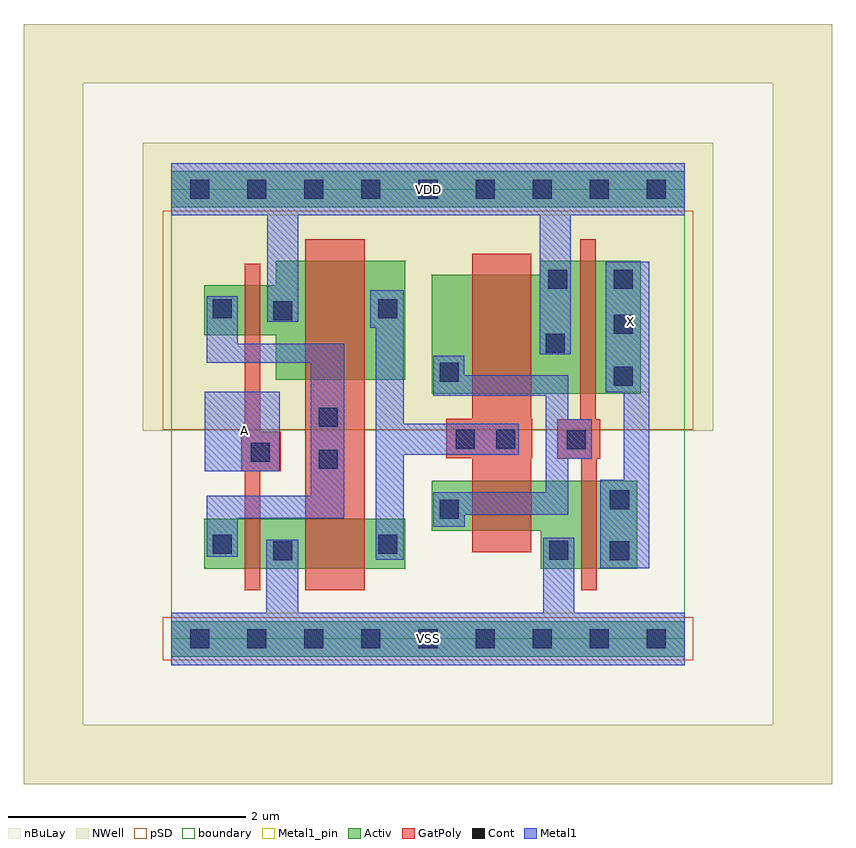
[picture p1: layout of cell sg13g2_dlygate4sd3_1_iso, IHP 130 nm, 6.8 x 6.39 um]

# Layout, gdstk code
import gdstk
lib = gdstk.Library(unit=1e-6, precision=1e-09)
def R(c, l, rs):  # rectangles x0, y0, x1, y1
    for r in rs: c.add(gdstk.rectangle(r[:2], r[2:], *l))
def P(c, l, *ps):  # polygons
    for p in ps: c.add(gdstk.Polygon(p, *l))
Activ = (1, 0)
GatPoly = (5, 0)
Cont = (6, 0)
Metal1 = (8, 0)
Metal1_pin = (8, 2)
pSD = (14, 0)
NWell = (31, 0)
nBuLay = (32, 0)
boundary = (189, 4)

sg13g2_dlygate4sd3_1_iso = lib.new_cell('sg13g2_dlygate4sd3_1_iso')
R(sg13g2_dlygate4sd3_1_iso, Activ, [(0,-0.15,4.32,0.15), (0.28,0.59,1.97,1.01), (0,3.63,4.32,3.93)])
P(sg13g2_dlygate4sd3_1_iso, Activ, [(3.95,3.18),(3.1,3.18),(3.1,3.06),(2.19,3.06),(2.19,2.06),(3.95,2.06)],
  [(3.92,1.33),(2.19,1.33),(2.19,0.91),(3.11,0.91),(3.11,0.59),(3.92,0.59)],
  [(1.97,3.18),(0.88,3.18),(0.88,2.975),(0.28,2.975),(0.28,2.555),(0.88,2.555),(0.88,2.18),(1.97,2.18)])
R(sg13g2_dlygate4sd3_1_iso, GatPoly, [(1.13,0.41,1.63,3.36)])
P(sg13g2_dlygate4sd3_1_iso, GatPoly, [(0.92,1.74),(0.75,1.74),(0.75,3.155),(0.62,3.155),(0.62,1.74),(0.59,1.74),(0.59,1.41),(0.62,1.41),(0.62,0.41),(0.75,0.41),(0.75,1.41),(0.92,1.41)],
  [(3.61,1.845),(3.57,1.845),(3.57,3.36),(3.44,3.36),(3.44,1.845),(3.245,1.845),(3.245,1.515),(3.45,1.515),(3.45,0.41),(3.58,0.41),(3.58,1.515),(3.61,1.515)],
  [(3.035,1.85),(3.03,1.85),(3.03,3.24),(2.53,3.24),(2.53,1.85),(2.315,1.85),(2.315,1.52),(2.53,1.52),(2.53,0.73),(3.03,0.73),(3.03,1.52),(3.035,1.52)])
R(sg13g2_dlygate4sd3_1_iso, Cont, [(0.16,-0.08,0.32,0.08), (0.16,-0.08,0.32,0.08), (0.64,-0.08,0.8,0.08), (0.64,-0.08,0.8,0.08), (1.12,-0.08,1.28,0.08), (1.12,-0.08,1.28,0.08), (1.6,-0.08,1.76,0.08), (1.6,-0.08,1.76,0.08), (2.08,-0.08,2.24,0.08), (2.08,-0.08,2.24,0.08), (2.56,-0.08,2.72,0.08), (2.56,-0.08,2.72,0.08), (3.04,-0.08,3.2,0.08), (3.04,-0.08,3.2,0.08), (3.52,-0.08,3.68,0.08), (3.52,-0.08,3.68,0.08), (4,-0.08,4.16,0.08), (4,-0.08,4.16,0.08), (0.86,0.66,1.02,0.82), (3.69,0.66,3.85,0.82), (3.18,0.665,3.34,0.825), (0.35,0.715,0.51,0.875), (1.74,0.715,1.9,0.875), (2.26,1.01,2.42,1.17), (3.69,1.09,3.85,1.25), (1.24,1.43,1.4,1.59), (0.67,1.49,0.83,1.65), (3.325,1.595,3.485,1.755), (2.395,1.6,2.555,1.76), (2.735,1.6,2.895,1.76), (1.24,1.785,1.4,1.945), (3.72,2.13,3.88,2.29), (2.26,2.16,2.42,2.32), (3.15,2.405,3.31,2.565), (3.72,2.565,3.88,2.725), (0.86,2.68,1.02,2.84), (0.35,2.695,0.51,2.855), (1.74,2.695,1.9,2.855), (3.17,2.945,3.33,3.105), (3.72,2.945,3.88,3.105), (0.16,3.7,0.32,3.86), (0.16,3.7,0.32,3.86), (0.64,3.7,0.8,3.86), (0.64,3.7,0.8,3.86), (1.12,3.7,1.28,3.86), (1.12,3.7,1.28,3.86), (1.6,3.7,1.76,3.86), (1.6,3.7,1.76,3.86), (2.08,3.7,2.24,3.86), (2.08,3.7,2.24,3.86), (2.56,3.7,2.72,3.86), (2.56,3.7,2.72,3.86), (3.04,3.7,3.2,3.86), (3.04,3.7,3.2,3.86), (3.52,3.7,3.68,3.86), (3.52,3.7,3.68,3.86), (4,3.7,4.16,3.86), (4,3.7,4.16,3.86)])
R(sg13g2_dlygate4sd3_1_iso, Metal1, [(0.285,1.41,0.915,2.08)])
P(sg13g2_dlygate4sd3_1_iso, Metal1, [(4.02,3.17),(3.655,3.17),(3.655,2.075),(3.805,2.075),(3.805,1.34),(3.61,1.34),(3.61,0.595),(4.02,0.595)],
  [(4.32,0.22),(3.39,0.22),(3.39,0.85),(3.13,0.85),(3.13,0.22),(1.07,0.22),(1.07,0.835),(0.8,0.835),(0.8,0.22),(0,0.22),(0,-0.22),(4.32,-0.22)],
  [(4.32,4),(0,4),(0,3.56),(0.81,3.56),(0.81,2.665),(1.07,2.665),(1.07,3.56),(3.1,3.56),(3.1,2.395),(3.36,2.395),(3.36,3.56),(4.32,3.56)],
  [(3.535,1.845),(3.34,1.845),(3.34,2.215),(2.465,2.215),(2.465,2.38),(2.205,2.38),(2.205,2.045),(3.15,2.045),(3.15,1.235),(2.205,1.235),(2.205,0.945),(2.47,0.945),(2.47,1.045),(3.34,1.045),(3.34,1.515),(3.535,1.515)],
  [(2.925,1.81),(1.955,1.81),(1.955,2.93),(1.675,2.93),(1.675,2.615),(1.72,2.615),(1.72,0.665),(1.955,0.665),(1.955,1.55),(2.925,1.55)],
  [(1.455,2.48),(0.56,2.48),(0.56,2.88),(0.3,2.88),(0.3,2.32),(1.175,2.32),(1.175,1.205),(0.3,1.205),(0.3,0.69),(0.56,0.69),(0.56,1.015),(1.455,1.015)])
R(sg13g2_dlygate4sd3_1_iso, Metal1_pin, [(0,-0.22,4.32,0.22), (0.285,1.41,0.915,2.08), (3.655,2.075,4.02,3.17), (0,3.56,4.32,4)])
R(sg13g2_dlygate4sd3_1_iso, pSD, [(-0.07,-0.18,4.39,0.18), (-0.07,1.76,4.39,3.6)])
R(sg13g2_dlygate4sd3_1_iso, NWell, [(-1.24,-1.22,5.56,-0.72), (-1.24,-0.72,-0.74,4.67), (5.06,-0.72,5.56,4.67), (-0.24,1.75,4.56,4.17), (-1.24,4.67,5.56,5.17)])
P(sg13g2_dlygate4sd3_1_iso, nBuLay, [(5.56,5.17),(-1.24,5.17),(-1.24,3.63),(0,3.63),(0,3.93),(4.32,3.93),(4.32,3.63),(0,3.63),(-1.24,3.63),(-1.24,-1.22),(5.56,-1.22)])
R(sg13g2_dlygate4sd3_1_iso, boundary, [(0,0,4.32,3.78)])
sg13g2_dlygate4sd3_1_iso.add(gdstk.Label('A', (0.62,1.755), layer=8, texttype=25))
sg13g2_dlygate4sd3_1_iso.add(gdstk.Label('VDD', (2.16,3.78), layer=8, texttype=25))
sg13g2_dlygate4sd3_1_iso.add(gdstk.Label('VSS', (2.16,0), layer=8, texttype=25))
sg13g2_dlygate4sd3_1_iso.add(gdstk.Label('X', (3.865,2.67), layer=8, texttype=25))

lib.write_gds('sg13g2_dlygate4sd3_1_iso.gds')
